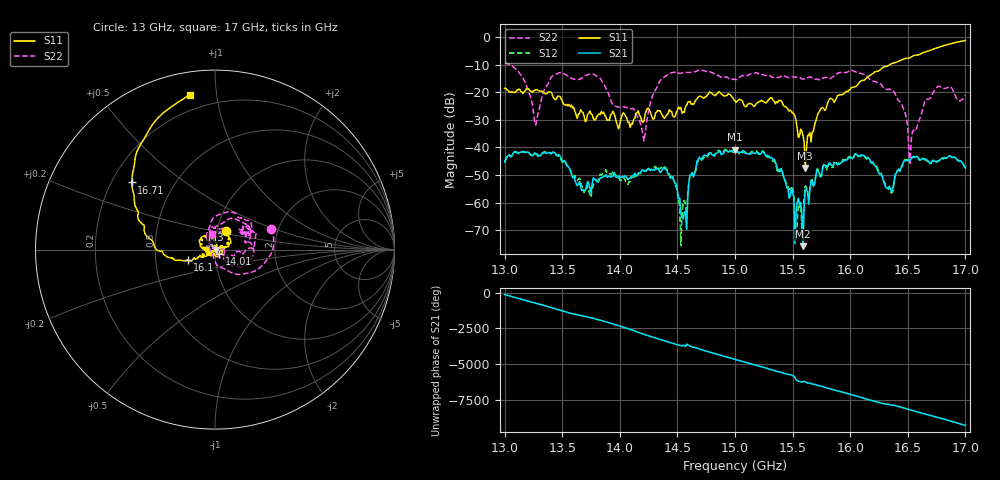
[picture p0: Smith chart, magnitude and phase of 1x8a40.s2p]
!Keysight Technologies,P9374A,MY57211807,A.19.30.04
!Date: Friday, May 08, 2026 14:13:52
!Correction: S11(C  2-Port  )
!S21(C  2-Port  )
!S12(C  2-Port  )
!S22(C  2-Port  )
!S2P File: Measurements: S11, S21, S12, S22:
# Hz S  dB  R 50
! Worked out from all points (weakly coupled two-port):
!   401 points, 13 GHz to 17 GHz, reference 50 ohm
!   highest |S21| = -40.82 dB at 15 GHz (marker M1); lowest = -75.8 dB at 15.59 GHz (marker M2)
!   lowest |S11| = -47.4 dB at 15.61 GHz (marker M3), VSWR 1.01, Z = 50.4 - j0.00361 ohm
!   |S11| at or under -10 dB: start of sweep to 16.34 GHz
!   |S22| runs from -45.8 to -9.5 dB; largest |S21 - S12| = 0.0011
!   S11 on the Smith chart (normalised r, x): 13 GHz: 1.10, +0.23; 14.01 GHz: 1.04, -0.05; 16.1 GHz: 0.73, -0.09; 16.71 GHz: 0.28, +0.33; 17 GHz: 0.12, +0.84
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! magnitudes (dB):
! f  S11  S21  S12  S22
! 13 GHz  -18.5  -45.3  -45.0  -9.5
! 13.16 GHz  -20.3  -41.6  -41.8  -14.9
! 13.27 GHz  -19.1  -42.3  -42.5  -31.9
! 13.42 GHz  -21.7  -41.7  -41.7  -14.0
! 13.67 GHz  -27.1  -55.7  -53.9  -14.8
! 14.01 GHz  -29.6  -50.9  -51.8  -25.4
! 14.21 GHz  -30.4  -48.6  -48.5  -37.7
! 14.34 GHz  -26.7  -48.2  -47.8  -16.5
! 14.47 GHz  -29.0  -52.0  -52.4  -12.7
! 14.56 GHz  -27.3  -63.4  -59.2  -12.8
! 14.69 GHz  -21.5  -43.5  -44.4  -12.0
! 15 GHz  -23.0  -40.8  -41.1  -15.3
! 15.4 GHz  -23.0  -47.8  -47.7  -14.2
! 15.54 GHz  -33.0  -59.9  -68.3  -14.4
! 15.59 GHz  -35.7  -75.8  -68.9  -15.2
! 15.61 GHz  -47.4  -55.2  -54.0  -15.0
! 15.67 GHz  -34.4  -52.0  -51.6  -14.7
! 16.1 GHz  -15.8  -42.7  -43.0  -13.3
! 16.34 GHz  -10.1  -54.1  -54.7  -18.9
! 16.53 GHz  -7.1  -44.1  -43.9  -37.1
! 16.71 GHz  -4.5  -44.9  -45.2  -21.0
! 17 GHz  -1.2  -47.5  -47.4  -21.0
